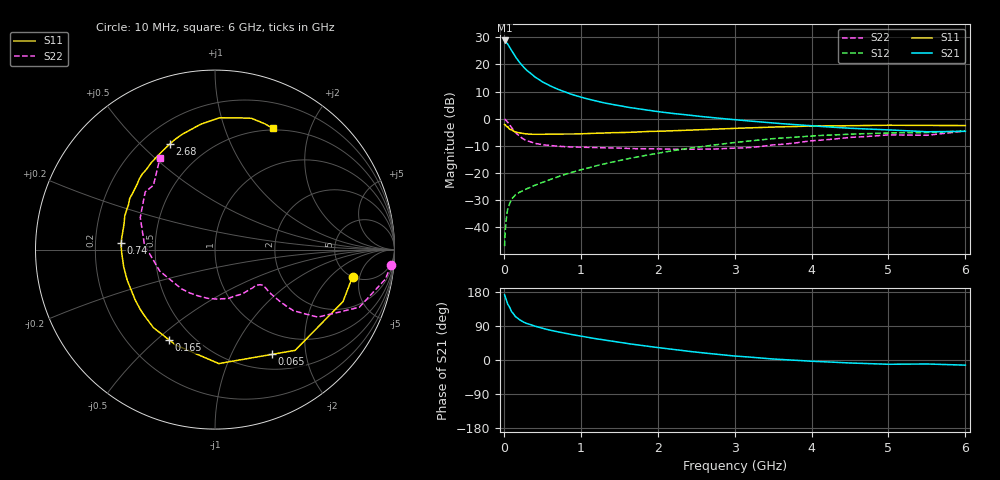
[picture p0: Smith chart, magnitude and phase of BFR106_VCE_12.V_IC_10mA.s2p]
! Infineon Technologies  Discrete & RF Semiconductors
! BFR106
! VCE =  12. V,  IC =  10 mA
! Common Emitter S-Parameters:  Nov 2015
# GHz  S  MA  R  50
!  f  S11  S21  S12  S22
! GHz  MAG  ANG  MAG  ANG  MAG  ANG  MAG  ANG
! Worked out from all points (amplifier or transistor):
!   210 points, 10 MHz to 6 GHz, reference 50 ohm
!   highest |S21| = 28.8 dB at 10 MHz (marker M1)
!   |S21| within 3 dB of that: start of sweep to 85.05 MHz
!   unconditionally stable (mu >= 1): 492.8 MHz to 1.897 GHz; 5.377 GHz to end of sweep
!   at 185 MHz: K = 0.55, MSG = 24.5 dB, |S12| = -27.4 dB
!   at 1.52 GHz: K = 1.07, MAG = 8.4 dB, |S12| = -15.3 dB
!   at 6 GHz: K = 1.01, MAG = -0.5 dB, |S12| = -4.5 dB
!   S11 on the Smith chart (normalised r, x): 10 MHz: 5.02, -3.91; 65 MHz: 0.69, -1.45; 165 MHz: 0.37, -0.55; 740 MHz: 0.31, +0.03; 2.68 GHz: 0.31, +0.61; 6 GHz: 0.48, +1.47
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0.01  0.7811 -11.2  27.65 172.1  0.0045 84.8  0.9847 -4.9
0.02  0.7696 -22.1  27.12 166.0  0.0091 79.2  0.9638 -9.8
0.05  0.7173 -51.5  23.8 147.7  0.0216 66.5  0.8657 -21.8
0.065  0.6649 -61.3  21.86 142.8  0.0249 61.7  0.8085 -24.7
0.1  0.6354 -88.1  18.16 127.8  0.0331 54.5  0.6852 -33.3
0.15  0.575 -112.4  13.84 114.5  0.0396 48.5  0.5559 -37.9
0.165  0.5642 -117.0  13 112.5  0.0409 48.5  0.5331 -38.1
0.2  0.5539 -128.3  11.1 106.8  0.044 48.5  0.48 -38.6
0.24  0.538 -137.4  9.507 101.9  0.047 48.0  0.4365 -38.5
0.3  0.5254 -147.9  7.744 96.2  0.0513 49.8  0.3935 -38.3
0.4  0.5181 -160.8  5.938 89.5  0.0593 52.8  0.3532 -37.1
0.5  0.5176 -169.4  4.789 83.7  0.0671 55.9  0.3319 -36.7
0.6  0.5195 -176.7  4.046 78.7  0.0759 58.0  0.3211 -37.5
0.74  0.5234 175.8  3.332 72.8  0.089 60.4  0.3094 -39.5
1.02  0.5289 162.9  2.458 62.2  0.1165 63.2  0.2992 -45.2
1.4  0.5543 149.1  1.844 50.0  0.1582 63.7  0.2905 -56.2
2.02  0.5882 130.5  1.342 32.3  0.2341 60.1  0.2779 -80.1
2.68  0.6394 113.3  1.06 17.1  0.3216 52.4  0.2751 -113.0
3.1  0.6726 104.2  0.933 9.1  0.3775 46.2  0.29 -136.8
4.1  0.7359 86.5  0.724 -4.1  0.4903 29.1  0.401 172.1
5.1  0.7575 73.3  0.614 -11.1  0.55 13.3  0.5023 139.1
6  0.7482 64.6  0.586 -13.6  0.5972 1.7  0.5945 121.1
